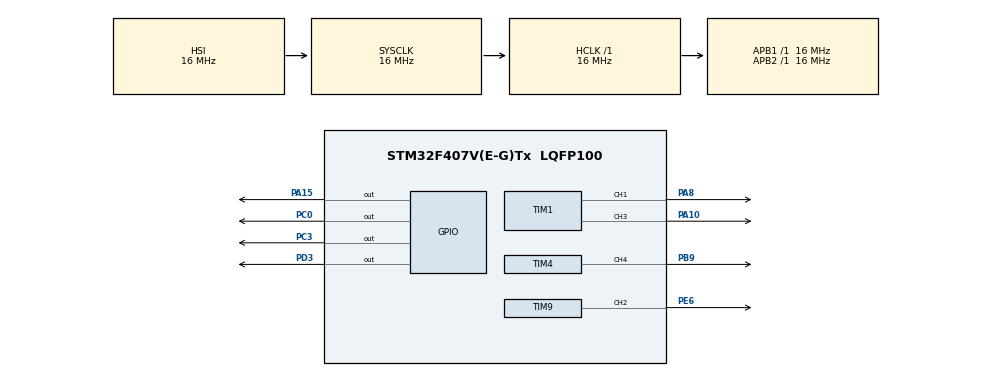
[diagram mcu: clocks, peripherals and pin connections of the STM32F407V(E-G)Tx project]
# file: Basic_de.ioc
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Mcu.Family=STM32F4
Mcu.Name=STM32F407V(E-G)Tx
Mcu.Package=LQFP100
NVIC.PriorityGroup=NVIC_PRIORITYGROUP_4
PA10.Signal=S_TIM1_CH3
PA15.Signal=GPIO_Output
PA8.Signal=S_TIM1_CH1
PB9.Signal=S_TIM4_CH4
PC0.Signal=GPIO_Output
PC3.Signal=GPIO_Output
PD3.Signal=GPIO_Output
PE6.Signal=S_TIM9_CH2
ProjectManager.HeapSize=0x200
ProjectManager.StackSize=0x400
ProjectManager.TargetToolchain=STM32CubeIDE
RCC.AHBFreq_Value=16000000
RCC.APB1Freq_Value=16000000
RCC.APB2Freq_Value=16000000
RCC.CortexFreq_Value=16000000
RCC.HSE_VALUE=25000000
RCC.HSI_VALUE=16000000
RCC.LSE_VALUE=32768
RCC.SYSCLKFreq_VALUE=16000000
RCC.VCOOutputFreq_Value=192000000
SH.S_TIM1_CH1.0=TIM1_CH1,PWM Generation1 CH1
SH.S_TIM1_CH3.0=TIM1_CH3,PWM Generation3 CH3
SH.S_TIM4_CH4.0=TIM4_CH4,PWM Generation4 CH4
SH.S_TIM9_CH2.0=TIM9_CH2,PWM Generation2 CH2
TIM1.Channel-PWM\ Generation1\ CH1=TIM_CHANNEL_1
TIM1.Channel-PWM\ Generation3\ CH3=TIM_CHANNEL_3
TIM4.Channel-PWM\ Generation4\ CH4=TIM_CHANNEL_4
TIM9.Channel-PWM\ Generation2\ CH2=TIM_CHANNEL_2
board=custom

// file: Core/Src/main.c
/* USER CODE BEGIN Header */
/**
  ******************************************************************************
  * @file           : main.c
  * @brief          : Main program body
  ******************************************************************************
  * @attention
  *
  * Copyright (c) 2025 STMicroelectronics.
  * All rights reserved.
  *
  * This software is licensed under terms that can be found in the LICENSE file
  * in the root directory of this software component.
  * If no LICENSE file comes with this software, it is provided AS-IS.
  *
  ******************************************************************************
  */
/* USER CODE END Header */
#include "main.h"

/* USER CODE BEGIN Includes */
// -------------------- DR DC0 ------------------------//
#define GPIO_Dir_DR0	GPIOD
#define GPIO_PWM_DR0	GPIOA

#define PIN_Dir_DR0		GPIO_PIN_3  // 3 // 1
#define PIN_PWM_DR0		GPIO_PIN_10 // TIM1 CH3

//---------------- DR DC1 ----------------//
#define GPIO_Dir_DR1	GPIOC
#define GPIO_PWM_DR1	GPIOB

#define PIN_Dir_DR1		GPIO_PIN_3 //3 // 1
#define PIN_PWM_DR1		GPIO_PIN_9 // TIM4 CH4
// ---------------- DR DC2 -------------------//
#define GPIO_Dir_DR2	GPIOC
#define GPIO_PWM_DR2	GPIOE

#define PIN_Dir_DR2		GPIO_PIN_0 // 2 // 0
#define PIN_PWM_DR2		GPIO_PIN_6 // TIM9 CH2

//----------------- DR DC3 ----------------//
#define GPIO_Dir_DR3	GPIOA
#define GPIO_PWM_DR3	GPIOA

#define PIN_Dir_DR3		GPIO_PIN_15 // 15 // 12
#define PIN_PWM_DR3 	GPIO_PIN_8  // TIM1 CH1

/* USER CODE END Includes */

TIM_HandleTypeDef htim1;
TIM_HandleTypeDef htim4;
TIM_HandleTypeDef htim9;

void SystemClock_Config(void);
static void MX_GPIO_Init(void);
static void MX_TIM1_Init(void);
static void MX_TIM4_Init(void);
static void MX_TIM9_Init(void);

int main(void)
{

  /* USER CODE BEGIN 1 */
	class motor {
	private:
	    TIM_HandleTypeDef *htim;
	    uint32_t channel;
	    uint8_t stt;
	    uint8_t dir;
	    uint8_t pwm;
	    GPIO_TypeDef *motor_port;  // Thêm biến toàn cục cho GPIO port
	    uint16_t motor_pin;        // Thêm biến toàn cục cho GPIO pin

	public:
	    motor(TIM_HandleTypeDef *htim, uint32_t channel, uint8_t stt, uint8_t dir, uint8_t pwm)
	    {
	        this->htim    = htim;
	        this->channel = channel;
	        this->stt     = stt;
	        this->dir     = dir;
	        this->pwm     = pwm;
	        set_define();
	    }

	    void set_pwm()
	    {
	        HAL_TIM_PWM_Start(htim, channel);
	        __HAL_TIM_SET_COMPARE(htim, channel, pwm);
	    }

	    void set_dir()
	    {
	        if (dir == 1)
	        {
	            HAL_GPIO_WritePin(motor_port, motor_pin, GPIO_PIN_RESET);
	        }
	        else
	        {
	            HAL_GPIO_WritePin(motor_port, motor_pin, GPIO_PIN_SET);
	        }
	    }

	    void set_define()
	    {
	        switch (stt)
	        {
	        case 0:
	            motor_port = GPIO_Dir_DR0;
	            motor_pin  = PIN_Dir_DR0;
	            break;
	        case 1:
	            motor_port = GPIO_Dir_DR1;
	            motor_pin  = PIN_Dir_DR1;
	            break;
	        case 2:
	            motor_port = GPIO_Dir_DR2;
	            motor_pin  = PIN_Dir_DR2 ;
	            break;
	        case 3:
	            motor_port = GPIO_Dir_DR3;
	            motor_pin  = PIN_Dir_DR3;
	            break;
	        default:
	        break;
	        }
	    }

	    void motor_run()
	    {
	        set_dir();
	        set_pwm();
	    }
	};

	// Khởi tạo đối tượng motor
	extern TIM_HandleTypeDef htim1;
	extern TIM_HandleTypeDef htim4;
	extern TIM_HandleTypeDef htim9;

	void up(uint8_t v)
	{
		motor dc0(&htim1, TIM_CHANNEL_3, 0, 1, v);
		motor dc1(&htim4, TIM_CHANNEL_4, 1, 1, v);
		motor dc2(&htim9, TIM_CHANNEL_2, 2, 1, v);
		motor dc3(&htim1, TIM_CHANNEL_1, 3, 1, v);
		dc0.motor_run();
		dc1.motor_run();
		dc2.motor_run();
		dc3.motor_run();
	}
	void down(uint8_t v)
	{
		motor dc0(&htim1, TIM_CHANNEL_3, 0, 0, v);
		motor dc1(&htim4, TIM_CHANNEL_4, 1, 0, v);
		motor dc2(&htim9, TIM_CHANNEL_2, 2, 0, v);
		motor dc3(&htim1, TIM_CHANNEL_1, 3, 0, v);
		dc0.motor_run();
		dc1.motor_run();
		dc2.motor_run();
		dc3.motor_run();
	}
//	HAL_TIM_PWM_Start(&htim1, TIM_CHANNEL_1);
//	HAL_TIM_PWM_Start(&htim1, TIM_CHANNEL_3);
//	HAL_TIM_PWM_Start(&htim4, TIM_CHANNEL_4);
//	HAL_TIM_PWM_Start(&htim9, TIM_CHANNEL_2);
  /* USER CODE END 1 */

  /* MCU Configuration--------------------------------------------------------*/

  /* Reset of all peripherals, Initializes the Flash interface and the Systick. */
  HAL_Init();

  /* Configure the system clock */
  SystemClock_Config();

  /* Initialize all configured peripherals */
  MX_GPIO_Init();
  MX_TIM1_Init();
  MX_TIM4_Init();
  MX_TIM9_Init();

  /* Infinite loop */
  while (1)
  {

  }
}

void SystemClock_Config(void)
{
  RCC_OscInitTypeDef RCC_OscInitStruct = {0};
  RCC_ClkInitTypeDef RCC_ClkInitStruct = {0};

  /** Configure the main internal regulator output voltage
  */
  __HAL_RCC_PWR_CLK_ENABLE();
  __HAL_PWR_VOLTAGESCALING_CONFIG(PWR_REGULATOR_VOLTAGE_SCALE1);

  /** Initializes the RCC Oscillators according to the specified parameters
  * in the RCC_OscInitTypeDef structure.
  */
  RCC_OscInitStruct.OscillatorType = RCC_OSCILLATORTYPE_HSI;
  RCC_OscInitStruct.HSIState = RCC_HSI_ON;
  RCC_OscInitStruct.HSICalibrationValue = RCC_HSICALIBRATION_DEFAULT;
  RCC_OscInitStruct.PLL.PLLState = RCC_PLL_NONE;
  if (HAL_RCC_OscConfig(&RCC_OscInitStruct) != HAL_OK)
  {
    Error_Handler();
  }

  /** Initializes the CPU, AHB and APB buses clocks
  */
  RCC_ClkInitStruct.ClockType = RCC_CLOCKTYPE_HCLK|RCC_CLOCKTYPE_SYSCLK
                              |RCC_CLOCKTYPE_PCLK1|RCC_CLOCKTYPE_PCLK2;
  RCC_ClkInitStruct.SYSCLKSource = RCC_SYSCLKSOURCE_HSI;
  RCC_ClkInitStruct.AHBCLKDivider = RCC_SYSCLK_DIV1;
  RCC_ClkInitStruct.APB1CLKDivider = RCC_HCLK_DIV1;
  RCC_ClkInitStruct.APB2CLKDivider = RCC_HCLK_DIV1;

  if (HAL_RCC_ClockConfig(&RCC_ClkInitStruct, FLASH_LATENCY_0) != HAL_OK)
  {
    Error_Handler();
  }
}

static void MX_TIM1_Init(void)
{

  TIM_MasterConfigTypeDef sMasterConfig = {0};
  TIM_OC_InitTypeDef sConfigOC = {0};
  TIM_BreakDeadTimeConfigTypeDef sBreakDeadTimeConfig = {0};

  htim1.Instance = TIM1;
  htim1.Init.Prescaler = 0;
  htim1.Init.CounterMode = TIM_COUNTERMODE_UP;
  htim1.Init.Period = 65535;
  htim1.Init.ClockDivision = TIM_CLOCKDIVISION_DIV1;
  htim1.Init.RepetitionCounter = 0;
  htim1.Init.AutoReloadPreload = TIM_AUTORELOAD_PRELOAD_DISABLE;
  if (HAL_TIM_PWM_Init(&htim1) != HAL_OK)
  {
    Error_Handler();
  }
  sMasterConfig.MasterOutputTrigger = TIM_TRGO_RESET;
  sMasterConfig.MasterSlaveMode = TIM_MASTERSLAVEMODE_DISABLE;
  if (HAL_TIMEx_MasterConfigSynchronization(&htim1, &sMasterConfig) != HAL_OK)
  {
    Error_Handler();
  }
  sConfigOC.OCMode = TIM_OCMODE_PWM1;
  sConfigOC.Pulse = 0;
  sConfigOC.OCPolarity = TIM_OCPOLARITY_HIGH;
  sConfigOC.OCNPolarity = TIM_OCNPOLARITY_HIGH;
  sConfigOC.OCFastMode = TIM_OCFAST_DISABLE;
  sConfigOC.OCIdleState = TIM_OCIDLESTATE_RESET;
  sConfigOC.OCNIdleState = TIM_OCNIDLESTATE_RESET;
  if (HAL_TIM_PWM_ConfigChannel(&htim1, &sConfigOC, TIM_CHANNEL_1) != HAL_OK)
  {
    Error_Handler();
  }
  if (HAL_TIM_PWM_ConfigChannel(&htim1, &sConfigOC, TIM_CHANNEL_3) != HAL_OK)
  {
    Error_Handler();
  }
  sBreakDeadTimeConfig.OffStateRunMode = TIM_OSSR_DISABLE;
  sBreakDeadTimeConfig.OffStateIDLEMode = TIM_OSSI_DISABLE;
  sBreakDeadTimeConfig.LockLevel = TIM_LOCKLEVEL_OFF;
  sBreakDeadTimeConfig.DeadTime = 0;
  sBreakDeadTimeConfig.BreakState = TIM_BREAK_DISABLE;
  sBreakDeadTimeConfig.BreakPolarity = TIM_BREAKPOLARITY_HIGH;
  sBreakDeadTimeConfig.AutomaticOutput = TIM_AUTOMATICOUTPUT_DISABLE;
  if (HAL_TIMEx_ConfigBreakDeadTime(&htim1, &sBreakDeadTimeConfig) != HAL_OK)
  {
    Error_Handler();
  }
  HAL_TIM_MspPostInit(&htim1);

}

static void MX_TIM4_Init(void)
{

  TIM_MasterConfigTypeDef sMasterConfig = {0};
  TIM_OC_InitTypeDef sConfigOC = {0};

  htim4.Instance = TIM4;
  htim4.Init.Prescaler = 0;
  htim4.Init.CounterMode = TIM_COUNTERMODE_UP;
  htim4.Init.Period = 65535;
  htim4.Init.ClockDivision = TIM_CLOCKDIVISION_DIV1;
  htim4.Init.AutoReloadPreload = TIM_AUTORELOAD_PRELOAD_DISABLE;
  if (HAL_TIM_PWM_Init(&htim4) != HAL_OK)
  {
    Error_Handler();
  }
  sMasterConfig.MasterOutputTrigger = TIM_TRGO_RESET;
  sMasterConfig.MasterSlaveMode = TIM_MASTERSLAVEMODE_DISABLE;
  if (HAL_TIMEx_MasterConfigSynchronization(&htim4, &sMasterConfig) != HAL_OK)
  {
    Error_Handler();
  }
  sConfigOC.OCMode = TIM_OCMODE_PWM1;
  sConfigOC.Pulse = 0;
  sConfigOC.OCPolarity = TIM_OCPOLARITY_HIGH;
  sConfigOC.OCFastMode = TIM_OCFAST_DISABLE;
  if (HAL_TIM_PWM_ConfigChannel(&htim4, &sConfigOC, TIM_CHANNEL_4) != HAL_OK)
  {
    Error_Handler();
  }
  HAL_TIM_MspPostInit(&htim4);

}

static void MX_TIM9_Init(void)
{

  TIM_OC_InitTypeDef sConfigOC = {0};

  htim9.Instance = TIM9;
  htim9.Init.Prescaler = 0;
  htim9.Init.CounterMode = TIM_COUNTERMODE_UP;
  htim9.Init.Period = 65535;
  htim9.Init.ClockDivision = TIM_CLOCKDIVISION_DIV1;
  htim9.Init.AutoReloadPreload = TIM_AUTORELOAD_PRELOAD_DISABLE;
  if (HAL_TIM_PWM_Init(&htim9) != HAL_OK)
  {
    Error_Handler();
  }
  sConfigOC.OCMode = TIM_OCMODE_PWM1;
  sConfigOC.Pulse = 0;
  sConfigOC.OCPolarity = TIM_OCPOLARITY_HIGH;
  sConfigOC.OCFastMode = TIM_OCFAST_DISABLE;
  if (HAL_TIM_PWM_ConfigChannel(&htim9, &sConfigOC, TIM_CHANNEL_2) != HAL_OK)
  {
    Error_Handler();
  }
  HAL_TIM_MspPostInit(&htim9);

}

static void MX_GPIO_Init(void)
{
  GPIO_InitTypeDef GPIO_InitStruct = {0};

  /* GPIO Ports Clock Enable */
  __HAL_RCC_GPIOE_CLK_ENABLE();
  __HAL_RCC_GPIOC_CLK_ENABLE();
  __HAL_RCC_GPIOA_CLK_ENABLE();
  __HAL_RCC_GPIOD_CLK_ENABLE();
  __HAL_RCC_GPIOB_CLK_ENABLE();

  /*Configure GPIO pin Output Level */
  HAL_GPIO_WritePin(GPIOC, GPIO_PIN_0|GPIO_PIN_3, GPIO_PIN_RESET);

  /*Configure GPIO pin Output Level */
  HAL_GPIO_WritePin(GPIOA, GPIO_PIN_15, GPIO_PIN_RESET);

  /*Configure GPIO pin Output Level */
  HAL_GPIO_WritePin(GPIOD, GPIO_PIN_3, GPIO_PIN_RESET);

  /*Configure GPIO pins : PC0 PC3 */
  GPIO_InitStruct.Pin = GPIO_PIN_0|GPIO_PIN_3;
  GPIO_InitStruct.Mode = GPIO_MODE_OUTPUT_PP;
  GPIO_InitStruct.Pull = GPIO_NOPULL;
  GPIO_InitStruct.Speed = GPIO_SPEED_FREQ_LOW;
  HAL_GPIO_Init(GPIOC, &GPIO_InitStruct);

  /*Configure GPIO pin : PA15 */
  GPIO_InitStruct.Pin = GPIO_PIN_15;
  GPIO_InitStruct.Mode = GPIO_MODE_OUTPUT_PP;
  GPIO_InitStruct.Pull = GPIO_NOPULL;
  GPIO_InitStruct.Speed = GPIO_SPEED_FREQ_LOW;
  HAL_GPIO_Init(GPIOA, &GPIO_InitStruct);

  /*Configure GPIO pin : PD3 */
  GPIO_InitStruct.Pin = GPIO_PIN_3;
  GPIO_InitStruct.Mode = GPIO_MODE_OUTPUT_PP;
  GPIO_InitStruct.Pull = GPIO_NOPULL;
  GPIO_InitStruct.Speed = GPIO_SPEED_FREQ_LOW;
  HAL_GPIO_Init(GPIOD, &GPIO_InitStruct);

}

void Error_Handler(void)
{
  __disable_irq();
  while (1)
  {
  }
}
